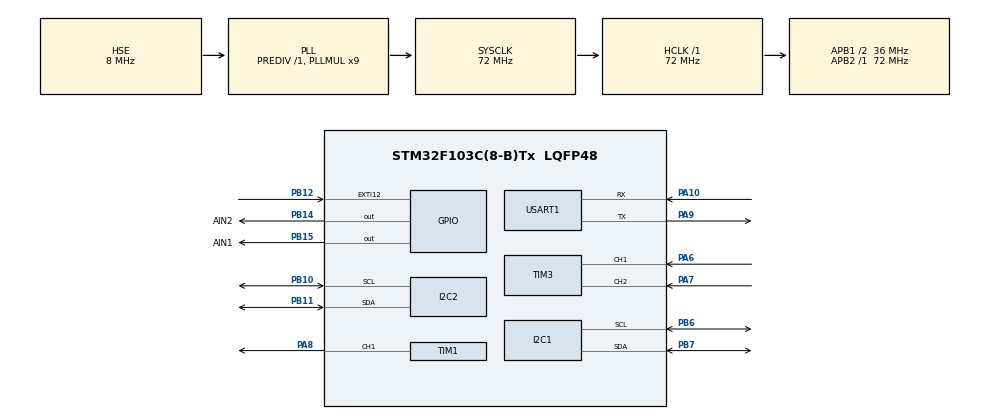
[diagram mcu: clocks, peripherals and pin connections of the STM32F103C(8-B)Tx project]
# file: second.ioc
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I2C1.I2C_Mode=I2C_Fast
Mcu.Family=STM32F1
Mcu.Name=STM32F103C(8-B)Tx
Mcu.Package=LQFP48
NVIC.EXTI15_10_IRQn=true\:0\:0\:false\:false\:true\:true\:true\:true
NVIC.PriorityGroup=NVIC_PRIORITYGROUP_4
NVIC.TIM2_IRQn=true\:0\:0\:false\:false\:true\:true\:true\:true
NVIC.USART1_IRQn=true\:2\:0\:true\:false\:true\:true\:true\:true
PA10.Mode=Asynchronous
PA10.Signal=USART1_RX
PA13.Mode=Serial_Wire
PA13.Signal=SYS_JTMS-SWDIO
PA14.Mode=Serial_Wire
PA14.Signal=SYS_JTCK-SWCLK
PA6.Signal=S_TIM3_CH1
PA7.Signal=S_TIM3_CH2
PA8.Signal=S_TIM1_CH1
PA9.Mode=Asynchronous
PA9.Signal=USART1_TX
PB10.Mode=I2C
PB10.Signal=I2C2_SCL
PB11.Mode=I2C
PB11.Signal=I2C2_SDA
PB12.GPIO_ModeDefaultEXTI=GPIO_MODE_IT_FALLING
PB12.GPIO_PuPd=GPIO_PULLUP
PB12.Signal=GPXTI12
PB14.GPIO_Label=AIN2
PB14.Signal=GPIO_Output
PB15.GPIO_Label=AIN1
PB15.Signal=GPIO_Output
PB6.Mode=I2C
PB6.Signal=I2C1_SCL
PB7.Mode=I2C
PB7.Signal=I2C1_SDA
PD0-OSC_IN.Mode=HSE-External-Oscillator
PD0-OSC_IN.Signal=RCC_OSC_IN
PD1-OSC_OUT.Mode=HSE-External-Oscillator
PD1-OSC_OUT.Signal=RCC_OSC_OUT
ProjectManager.HeapSize=0x200
ProjectManager.StackSize=0x400
ProjectManager.TargetToolchain=CMake
RCC.AHBFreq_Value=72000000
RCC.APB1CLKDivider=RCC_HCLK_DIV2
RCC.APB1Freq_Value=36000000
RCC.APB1TimFreq_Value=72000000
RCC.APB2Freq_Value=72000000
RCC.APB2TimFreq_Value=72000000
RCC.HCLKFreq_Value=72000000
RCC.PLLMUL=RCC_PLL_MUL9
RCC.PLLSourceVirtual=RCC_PLLSOURCE_HSE
RCC.SYSCLKFreq_VALUE=72000000
RCC.SYSCLKSource=RCC_SYSCLKSOURCE_PLLCLK
RCC.USBFreq_Value=72000000
SH.S_TIM1_CH1.0=TIM1_CH1,PWM Generation1 CH1
SH.S_TIM3_CH1.0=TIM3_CH1,Encoder_Interface
SH.S_TIM3_CH2.0=TIM3_CH2,Encoder_Interface
TIM1.AutoReloadPreload=TIM_AUTORELOAD_PRELOAD_ENABLE
TIM1.Channel-PWM\ Generation1\ CH1=TIM_CHANNEL_1
TIM1.Period=99
TIM1.Prescaler=71
TIM2.Period=9999
TIM2.Prescaler=71
TIM3.EncoderMode=TIM_ENCODERMODE_TI12
USART1.VirtualMode=VM_ASYNC
VP_TIM1_VS_ClockSourceINT.Mode=Internal
VP_TIM2_VS_ClockSourceINT.Mode=Internal
board=custom

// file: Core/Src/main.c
/* USER CODE BEGIN Header */
/**
  ******************************************************************************
  * @file           : main.c
  * @brief          : Main program body
  ******************************************************************************
  * @attention
  *
  * Copyright (c) 2026 STMicroelectronics.
  * All rights reserved.
  *
  * This software is licensed under terms that can be found in the LICENSE file
  * in the root directory of this software component.
  * If no LICENSE file comes with this software, it is provided AS-IS.
  *
  ******************************************************************************
  */
/* USER CODE END Header */
#include "main.h"
#include "i2c.h"
#include "tim.h"
#include "usart.h"
#include "gpio.h"

/* USER CODE BEGIN Includes */
#include "stdio.h"
#include "stdlib.h"
#include "string.h"
#include "math.h"
#include "ins.h"
#include "mpu6050.h"
#include "OLED.h"
#include "OLED_Font.h"
#include "motor.h"
#include "../Inc/PID_degree.h"
#include "PID_speed.h"
/* USER CODE END Includes */

void SystemClock_Config(void);
/* USER CODE BEGIN PFP */
#define RX_BUF_SIZE 32
/* USER CODE END PFP */

/* USER CODE BEGIN 0 */
int count = 0;
float goal_degree = 0;
float speed_ref_1 = 0;
float Kp1 = 2.1, Ki1 = 0.4, Kd1 = 0.5;
float degree_error;
float last_roll = 0;
float degree_integral = 0;
float last_degree_error = 0;
float vary_speed_degree = 0;
float motor_speed = 0;
float target_speed = 0;
float speed_error = 0;
float real_speed = 0;
float speed_integral = 0;
float vary_speed_speed = 0;
float last_speed_error = 0;
float speed_ref_2 = 0;
float Kp2 = 4.2, Ki2 = 0.7, Kd2 = 0.12;
float last_real_speed = 0;
float goal_degree_2 = 0;
uint8_t rx_buf[RX_BUF_SIZE];
uint16_t rx_index = 0;
uint8_t rx_byte = 0;
/* USER CODE END 0 */

int main(void)
{

  /* MCU Configuration--------------------------------------------------------*/

  /* Reset of all peripherals, Initializes the Flash interface and the Systick. */
  HAL_Init();

  /* Configure the system clock */
  SystemClock_Config();

  /* Initialize all configured peripherals */
  MX_GPIO_Init();
  MX_TIM3_Init();
  MX_TIM2_Init();
  MX_TIM1_Init();
  MX_USART1_UART_Init();
  MX_I2C1_Init();
  MX_I2C2_Init();
  /* USER CODE BEGIN 2 */
  ins_init();
  HAL_Delay(20);
  OLED_Init();
  OLED_Clear();
  /* USER CODE END 2 */

  /* Infinite loop */
  /* USER CODE BEGIN WHILE */
  HAL_TIM_Encoder_Start(&htim3, TIM_CHANNEL_1);
  HAL_TIM_Encoder_Start(&htim3, TIM_CHANNEL_2);
  HAL_TIM_Base_Start_IT(&htim2);
  HAL_TIM_PWM_Start(&htim1, TIM_CHANNEL_1);
  __HAL_TIM_SET_COMPARE(&htim1, TIM_CHANNEL_1, 0);
  HAL_UART_Receive_IT(&huart1, (uint8_t *)&rx_byte, 1);
  char buff[256];
  while (1)
  {
    // 获取陀螺仪数据的指针
    ins_data_t *ins = ins_data();
    sprintf(buff, "%.3f, %.3f, %.3f, %.3f, %.3f, %.3f, %.3f\n",
            real_speed, motor_speed, speed_integral, target_speed, ins->roll, goal_degree, degree_integral);
    HAL_UART_Transmit(&huart1, (uint8_t *)buff, strlen(buff),HAL_MAX_DELAY);
    OLED_ShowString(0, 0, "Speed:", 16, 0);
    OLED_Showdecimal(56, 0, real_speed, 3, 2, 16, 0);
    OLED_ShowString(0, 2, "Degree:", 16, 0);
    OLED_Showdecimal(56, 2, ins->roll, 3, 2, 16, 0);
    /* USER CODE END WHILE */

  }
}

void SystemClock_Config(void)
{
  RCC_OscInitTypeDef RCC_OscInitStruct = {0};
  RCC_ClkInitTypeDef RCC_ClkInitStruct = {0};

  /** Initializes the RCC Oscillators according to the specified parameters
  * in the RCC_OscInitTypeDef structure.
  */
  RCC_OscInitStruct.OscillatorType = RCC_OSCILLATORTYPE_HSE;
  RCC_OscInitStruct.HSEState = RCC_HSE_ON;
  RCC_OscInitStruct.HSEPredivValue = RCC_HSE_PREDIV_DIV1;
  RCC_OscInitStruct.HSIState = RCC_HSI_ON;
  RCC_OscInitStruct.PLL.PLLState = RCC_PLL_ON;
  RCC_OscInitStruct.PLL.PLLSource = RCC_PLLSOURCE_HSE;
  RCC_OscInitStruct.PLL.PLLMUL = RCC_PLL_MUL9;
  if (HAL_RCC_OscConfig(&RCC_OscInitStruct) != HAL_OK)
  {
    Error_Handler();
  }

  /** Initializes the CPU, AHB and APB buses clocks
  */
  RCC_ClkInitStruct.ClockType = RCC_CLOCKTYPE_HCLK|RCC_CLOCKTYPE_SYSCLK
                              |RCC_CLOCKTYPE_PCLK1|RCC_CLOCKTYPE_PCLK2;
  RCC_ClkInitStruct.SYSCLKSource = RCC_SYSCLKSOURCE_PLLCLK;
  RCC_ClkInitStruct.AHBCLKDivider = RCC_SYSCLK_DIV1;
  RCC_ClkInitStruct.APB1CLKDivider = RCC_HCLK_DIV2;
  RCC_ClkInitStruct.APB2CLKDivider = RCC_HCLK_DIV1;

  if (HAL_RCC_ClockConfig(&RCC_ClkInitStruct, FLASH_LATENCY_2) != HAL_OK)
  {
    Error_Handler();
  }
}

/* USER CODE BEGIN 4 */
void HAL_TIM_PeriodElapsedCallback(TIM_HandleTypeDef *htim)
{
  if (htim->Instance == TIM2)
  {
    //测速
    count = __HAL_TIM_GET_COUNTER(&htim3);
    if (count <= 32768)
    real_speed = 2.3 * count;//乘2.3是为了使real_speed和target_speed的量纲保持一致
    else real_speed = 2.3 * (count - 65536);
    //傻逼滤波，加上净是拖后腿:(
    //real_speed = last_real_speed * 0.8f + real_speed * 0.2f;
    last_real_speed = real_speed;
    // 更新 MPU6050 数据（陀螺仪 + 加速度计 + 姿态解算）
    ins_update();
    goal_degree_2 = goal_degree + 16.5;
    motor(PID_speed(PID_degree(goal_degree_2)));
    __HAL_TIM_SET_COUNTER(&htim3, 0);
  }
}
//VOFA+控制目标角度
void HAL_UART_RxCpltCallback(UART_HandleTypeDef *huart)
{
  if (huart->Instance == USART1)
  {
    // 收到结束符（回车或换行），开始转换
    if (rx_byte == '\r' || rx_byte == '\n')
    {
      if (rx_index > 0)                  // 缓冲区里有数据才转换
      {
        rx_buf[rx_index] = '\0';         // 字符串结束
        goal_degree = (float)atof((char *)rx_buf);  // 转成浮点数（支持整数和小数）
      }
      rx_index = 0;                      // 清空，准备下次接收
    }
    else
    {
      // 普通字符，存入缓冲区
      if (rx_index < RX_BUF_SIZE - 1)
      {
        rx_buf[rx_index++] = rx_byte;
      }
      else
      {
        rx_index = 0;                    // 防止溢出，直接丢弃
      }
    }

    // 继续接收下一个字节
    HAL_UART_Receive_IT(&huart1, &rx_byte, 1);
  }
}
//归零按钮
void HAL_GPIO_EXTI_Callback(uint16_t GPIO_Pin)
{
  goal_degree = 0;
}
/* USER CODE END 4 */

void Error_Handler(void)
{
  __disable_irq();
  while (1)
  {
  }
}
